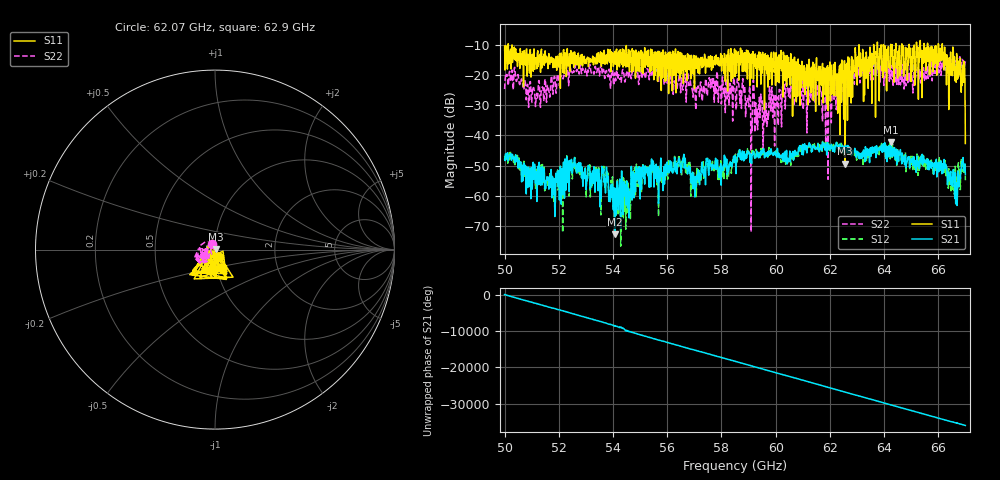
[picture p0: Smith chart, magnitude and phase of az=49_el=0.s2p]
!Created with skrf (http://scikit-rf.org).
# GHz S RI R 50.0
!freq ReS11 ImS11 ReS21 ImS21 ReS12 ImS12 ReS22 ImS22
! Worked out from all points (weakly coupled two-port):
!   1001 points, 50 GHz to 67 GHz, reference 50 ohm
!   highest |S21| = -42.25 dB at 64.26 GHz (marker M1); lowest = -72.6 dB at 54.06 GHz (marker M2)
!   lowest |S11| = -49.3 dB at 62.56 GHz (marker M3), VSWR 1.01, Z = 50.3 + j0.0715 ohm
!   |S11| at or under -10 dB: 50.14 GHz to 63.62 GHz (13.48 GHz wide, 23.7 % of centre); 65.61 GHz to 66 GHz (389 MHz wide, 0.591 % of centre); 66.15 GHz to end of sweep (the widest 3 of 15)
!   |S22| runs from -71.9 to -14.0 dB; largest |S21 - S12| = 0.0024
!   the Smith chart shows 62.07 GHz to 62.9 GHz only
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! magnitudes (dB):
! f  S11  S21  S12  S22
! 50 GHz  -10.5  -47.9  -46.8  -24.7
! 51.84 GHz  -17.4  -54.3  -58.9  -20.5
! 52.5 GHz  -16.3  -52.5  -54.4  -19.4
! 52.84 GHz  -14.6  -54.0  -53.6  -19.6
! 53.69 GHz  -13.6  -54.3  -56.4  -21.2
! 54.06 GHz  -16.4  -72.6  -67.0  -19.3
! 55.68 GHz  -14.1  -62.4  -66.8  -22.5
! 56.63 GHz  -17.2  -50.8  -48.7  -20.8
! 57.04 GHz  -15.8  -55.7  -59.0  -28.9
! 58.5 GHz  -20.5  -46.7  -47.2  -24.8
! 59.61 GHz  -13.2  -46.9  -47.4  -35.8
! 60.64 GHz  -14.9  -45.3  -46.3  -22.6
! 61.34 GHz  -24.0  -44.8  -44.5  -25.7
! 61.88 GHz  -29.6  -46.4  -44.7  -23.1
! 62.56 GHz  -49.3  -44.8  -44.8  -19.7
! 63.01 GHz  -23.3  -46.3  -45.7  -20.2
! 64.18 GHz  -17.6  -47.1  -47.0  -18.4
! 64.26 GHz  -13.8  -42.3  -43.3  -21.4
! 66.08 GHz  -15.3  -49.7  -48.2  -15.6
! 66.69 GHz  -16.1  -63.1  -54.6  -15.7
! 66.9 GHz  -16.8  -49.3  -49.3  -15.1
! 67 GHz  -42.7  -52.9  -54.8  -15.6
